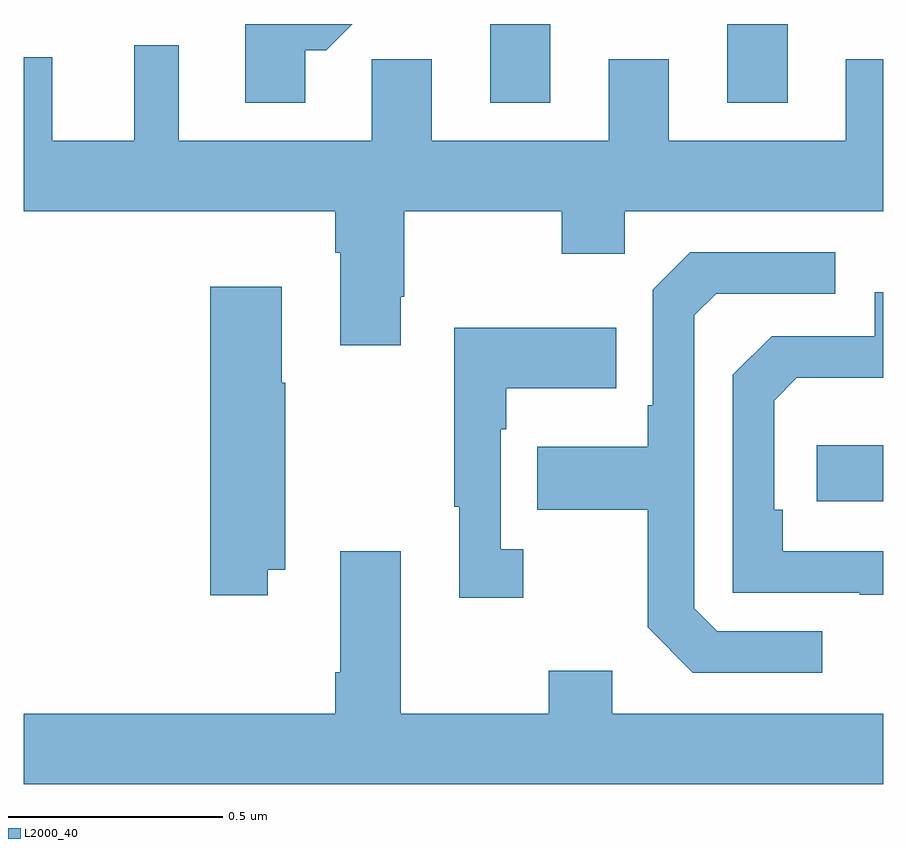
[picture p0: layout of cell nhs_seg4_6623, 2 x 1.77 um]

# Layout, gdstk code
import gdstk
lib = gdstk.Library(unit=1e-6, precision=1e-09)
def R(c, l, rs):  # rectangles x0, y0, x1, y1
    for r in rs: c.add(gdstk.rectangle(r[:2], r[2:], *l))
def P(c, l, *ps):  # polygons
    for p in ps: c.add(gdstk.Polygon(p, *l))
L2000_40 = (2000, 40)

nhs_seg4_6623 = lib.new_cell('nhs_seg4_6623')
R(nhs_seg4_6623, L2000_40, [(193.845,818.79,194,818.92), (193.085,819.717,193.225,819.9), (193.637,819.717,193.777,819.9)])
P(nhs_seg4_6623, L2000_40, [(192.655,819.839),(192.704,819.839),(192.765,819.9),(192.515,819.9),(192.515,819.717),(192.655,819.717)],
  [(192.877,819.265),(192.885,819.265),(192.885,819.464),(193.252,819.464),(193.252,819.365),(193.398,819.365),(193.398,819.464),(194,819.464),(194,819.818),(193.913,819.818),(193.913,819.628),(193.501,819.628),(193.501,819.818),(193.361,819.818),(193.361,819.628),(192.949,819.628),(192.949,819.818),(192.81,819.818),(192.81,819.628),(192.361,819.628),(192.361,819.85),(192.257,819.85),(192.257,819.628),(192.067,819.628),(192.067,819.823),(192,819.823),(192,819.464),(192.725,819.464),(192.725,819.368),(192.737,819.368),(192.737,819.153),(192.877,819.153)],
  [(193.858,818.487),(193.614,818.487),(193.56,818.541),(193.56,819.222),(193.611,819.273),(193.888,819.273),(193.888,819.369),(193.551,819.369),(193.464,819.282),(193.464,819.013),(193.452,819.013),(193.452,818.917),(193.195,818.917),(193.195,818.77),(193.452,818.77),(193.452,818.497),(193.557,818.391),(193.858,818.391)],
  [(192.568,818.63),(192.609,818.63),(192.609,819.065),(192.601,819.065),(192.601,819.289),(192.434,819.289),(192.434,818.571),(192.568,818.571)],
  [(194,818.673),(193.766,818.673),(193.766,818.77),(193.746,818.77),(193.746,819.024),(193.799,819.077),(194,819.077),(194,819.276),(193.98,819.276),(193.98,819.174),(193.74,819.174),(193.65,819.084),(193.65,818.577),(193.945,818.577),(193.945,818.572),(194,818.572)],
  [(193.162,818.678),(193.11,818.678),(193.11,818.957),(193.123,818.957),(193.123,819.053),(193.379,819.053),(193.379,819.193),(193.002,819.193),(193.002,818.777),(193.013,818.777),(193.013,818.565),(193.162,818.565)],
  [(194,818.296),(193.369,818.296),(193.369,818.395),(193.222,818.395),(193.222,818.296),(192.877,818.296),(192.877,818.674),(192.737,818.674),(192.737,818.392),(192.725,818.392),(192.725,818.296),(192,818.296),(192,818.132),(194,818.132)])

lib.write_gds('nhs_seg4_6623.gds')
